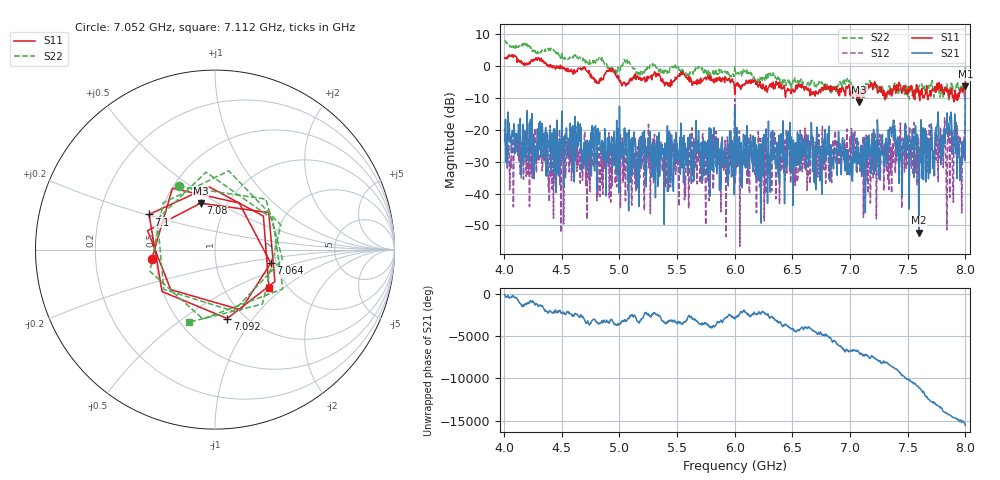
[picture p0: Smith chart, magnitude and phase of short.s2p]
# Hz S RI R 50
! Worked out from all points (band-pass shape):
!   1000 points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, 4.004 GHz to 8 GHz, reference 50 ohm
!   highest |S21| = -6.38 dB at 8 GHz (marker M1); lowest = -52.3 dB at 7.596 GHz (marker M2)
!   |S21| within 3 dB of the highest: 7.999484 GHz to end of sweep
!   lowest |S11| = -11.4 dB at 7.08 GHz (marker M3), VSWR 1.74, Z = 37.6 + j21 ohm
!   |S11| at or under -10 dB: 7.059114 GHz to 7.063519 GHz (4.405 MHz wide, 0.0624 % of centre); 7.298751 GHz to 7.305056 GHz (6.305 MHz wide, 0.0863 % of centre); 7.894998 GHz to 7.903357 GHz (8.359 MHz wide, 0.106 % of centre) (the widest 3 of 12)
!   |S22| runs from -11.1 to 8.1 dB; largest |S21 - S12| = 1.1
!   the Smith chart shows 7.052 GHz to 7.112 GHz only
!   S11 on the Smith chart (normalised r, x): 7.052 GHz: 0.48, -0.06; 7.064 GHz: 1.87, -0.31; 7.08 GHz: 0.75, +0.42; 7.092 GHz: 0.83, -0.76; 7.1 GHz: 0.43, +0.21; 7.112 GHz: 1.62, -0.80
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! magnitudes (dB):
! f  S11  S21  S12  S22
! 4.004 GHz  2.5  -23.6  -23.2  8.1
! 4.672 GHz  -0.8  -32.8  -31.3  2.3
! 5.336 GHz  -3.0  -31.3  -23.9  -0.6
! 5.584 GHz  -3.7  -26.6  -29.8  -2.8
! 5.664 GHz  -5.3  -17.1  -26.4  -0.2
! 5.768 GHz  -3.4  -23.2  -36.5  -1.9
! 6.004 GHz  -5.8  -34.3  -37.1  -1.2
! 6.18 GHz  -4.9  -28.1  -32.2  -4.3
! 6.452 GHz  -7.6  -21.2  -33.5  -5.1
! 6.528 GHz  -6.1  -27.4  -34.4  -4.9
! 6.668 GHz  -8.9  -21.8  -24.9  -4.6
! 7.052 GHz  -9.0  -25.4  -29.0  -7.8
! 7.064 GHz  -9.9  -24.5  -25.6  -8.9
! 7.08 GHz  -11.4  -28.0  -28.3  -8.8
! 7.092 GHz  -8.2  -32.9  -24.7  -8.4
! 7.1 GHz  -7.6  -34.6  -26.0  -7.0
! 7.112 GHz  -8.7  -32.6  -22.2  -7.4
! 7.336 GHz  -8.3  -25.2  -38.7  -6.5
! 7.596 GHz  -9.2  -52.3  -30.1  -6.4
! 7.86 GHz  -8.0  -19.6  -24.3  -11.1
! 7.964 GHz  -6.9  -28.6  -25.5  -7.4
! 8 GHz  -5.0  -6.4  -3.6  -0.4
